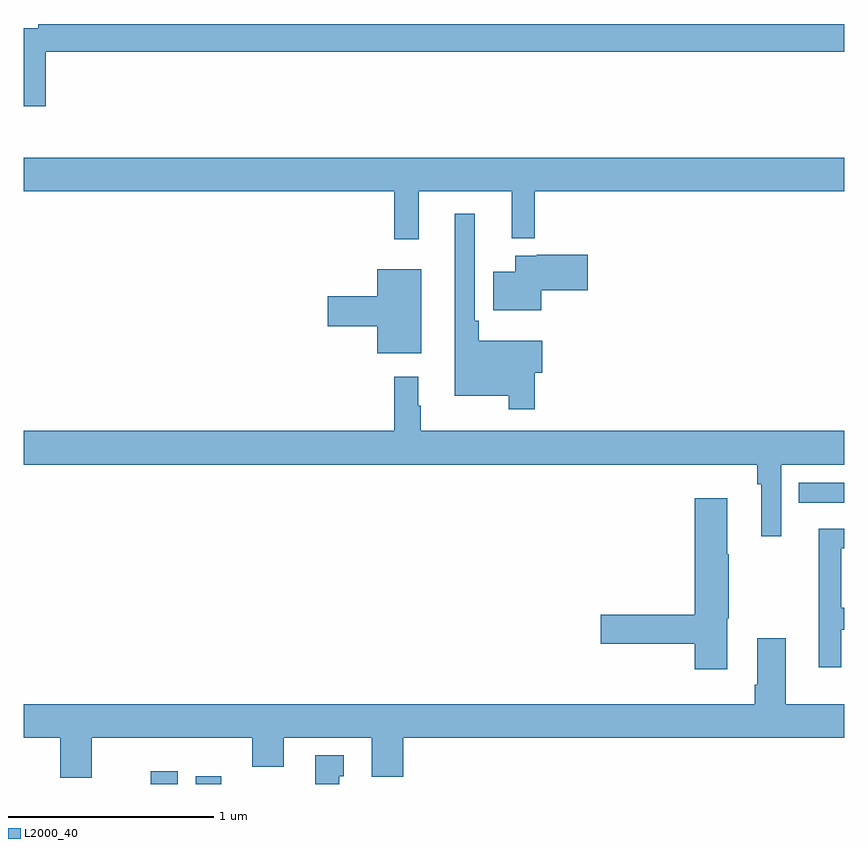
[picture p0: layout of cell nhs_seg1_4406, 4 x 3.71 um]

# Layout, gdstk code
import gdstk
lib = gdstk.Library(unit=1e-6, precision=1e-09)
def R(c, l, rs):  # rectangles x0, y0, x1, y1
    for r in rs: c.add(gdstk.rectangle(r[:2], r[2:], *l))
def P(c, l, *ps):  # polygons
    for p in ps: c.add(gdstk.Polygon(p, *l))
L2000_40 = (2000, 40)

nhs_seg1_4406 = lib.new_cell('nhs_seg1_4406')
R(nhs_seg1_4406, L2000_40, [(351.62,526.199,351.751,526.261), (351.839,526.199,351.964,526.237), (354.778,527.571,355,527.667)])
P(nhs_seg1_4406, L2000_40, [(351.107,529.768),(355,529.768),(355,529.904),(351.07,529.904),(351.07,529.884),(351,529.884),(351,529.503),(351.107,529.503)],
  [(352.925,529.088),(353.378,529.088),(353.378,528.86),(353.49,528.86),(353.49,529.088),(355,529.088),(355,529.252),(351,529.252),(351,529.088),(352.807,529.088),(352.807,528.855),(352.925,528.855)],
  [(353.492,528.203),(353.527,528.203),(353.527,528.361),(353.219,528.361),(353.219,528.457),(353.199,528.457),(353.199,528.979),(353.102,528.979),(353.102,528.092),(353.364,528.092),(353.364,528.027),(353.492,528.027)],
  [(353.524,528.605),(353.749,528.605),(353.749,528.78),(353.5,528.78),(353.5,528.775),(353.396,528.775),(353.396,528.697),(353.288,528.697),(353.288,528.509),(353.524,528.509)],
  [(352.939,528.709),(352.724,528.709),(352.724,528.578),(352.482,528.578),(352.482,528.431),(352.724,528.431),(352.724,528.299),(352.939,528.299)],
  [(354.693,527.756),(355,527.756),(355,527.92),(352.936,527.92),(352.936,528.044),(352.924,528.044),(352.924,528.184),(352.807,528.184),(352.807,527.92),(351,527.92),(351,527.756),(354.577,527.756),(354.577,527.66),(354.596,527.66),(354.596,527.406),(354.693,527.406)],
  [(354.43,527.007),(354.438,527.007),(354.438,527.318),(354.43,527.318),(354.43,527.593),(354.272,527.593),(354.272,527.024),(353.814,527.024),(353.814,526.882),(354.272,526.882),(354.272,526.758),(354.43,526.758)],
  [(354.985,526.95),(355,526.95),(355,527.058),(354.985,527.058),(354.985,527.349),(355,527.349),(355,527.443),(354.876,527.443),(354.876,527.011),(354.875,527.011),(354.875,526.767),(354.985,526.767)],
  [(351.331,526.424),(352.115,526.424),(352.115,526.283),(352.267,526.283),(352.267,526.424),(352.697,526.424),(352.697,526.235),(352.85,526.235),(352.85,526.424),(355,526.424),(355,526.588),(354.715,526.588),(354.715,526.909),(354.575,526.909),(354.575,526.684),(354.563,526.684),(354.563,526.588),(351,526.588),(351,526.424),(351.179,526.424),(351.179,526.23),(351.331,526.23)],
  [(352.537,526.236),(352.561,526.236),(352.561,526.339),(352.421,526.339),(352.421,526.199),(352.537,526.199)])

lib.write_gds('nhs_seg1_4406.gds')
